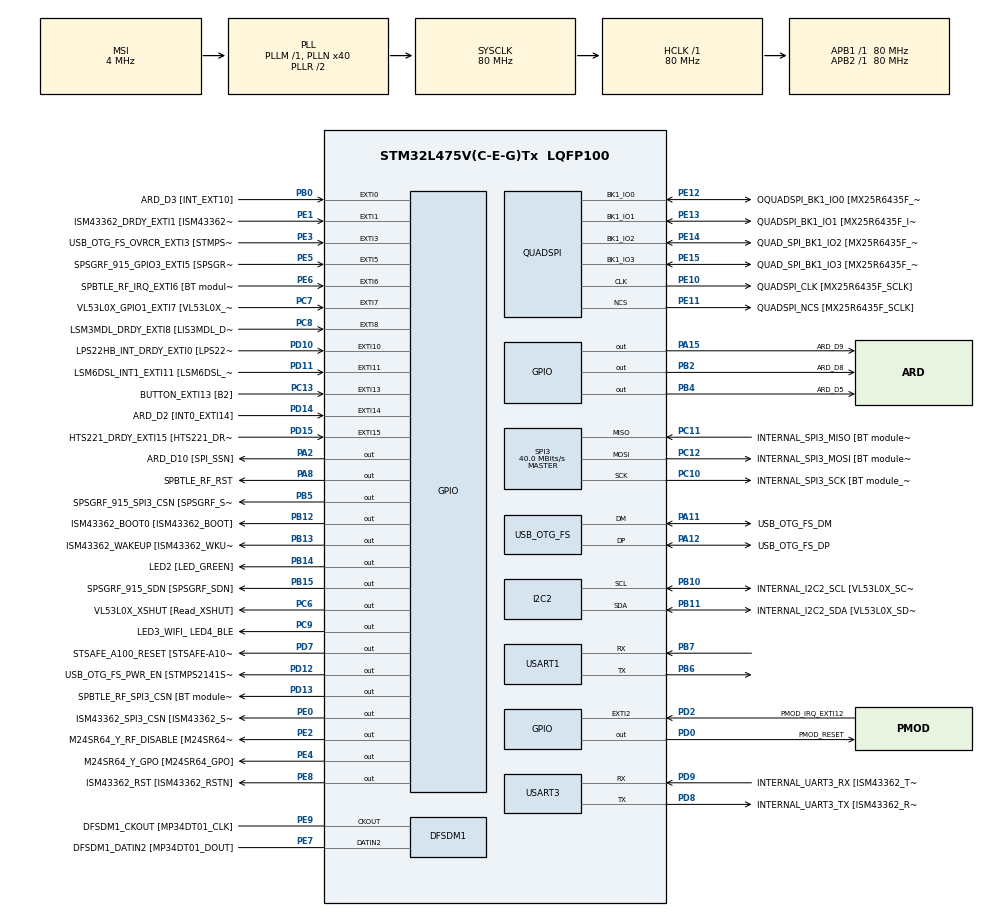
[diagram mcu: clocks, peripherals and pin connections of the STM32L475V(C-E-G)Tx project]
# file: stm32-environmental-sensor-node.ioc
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I2C2.Timing=0x10909CEC
Mcu.Family=STM32L4
Mcu.Name=STM32L475V(C-E-G)Tx
Mcu.Package=LQFP100
NVIC.EXTI15_10_IRQn=true\:0\:0\:false\:false\:true\:true\:true\:true
NVIC.EXTI9_5_IRQn=true\:0\:0\:false\:false\:true\:true\:true\:true
NVIC.PriorityGroup=NVIC_PRIORITYGROUP_4
PA0.GPIO_Label=ARD_D1 [UART4_TX]
PA0.Signal=UART4_TX
PA1.GPIO_Label=ARD_D0 [UART4_RX]
PA1.Signal=UART4_RX
PA11.GPIO_Label=USB_OTG_FS_DM
PA11.Mode=Device_Only
PA11.Signal=USB_OTG_FS_DM
PA12.GPIO_Label=USB_OTG_FS_DP
PA12.Mode=Device_Only
PA12.Signal=USB_OTG_FS_DP
PA13\ (JTMS-SWDIO).GPIO_Label=SYS_JTMS_SWDIO
PA13\ (JTMS-SWDIO).Mode=Serial_Wire
PA13\ (JTMS-SWDIO).Signal=SYS_JTMS-SWDIO
PA14\ (JTCK-SWCLK).GPIO_Label=SYS_JTCK_SWCLK
PA14\ (JTCK-SWCLK).Mode=Serial_Wire
PA14\ (JTCK-SWCLK).Signal=SYS_JTCK-SWCLK
PA15\ (JTDI).GPIO_Label=ARD_D9
PA15\ (JTDI).Signal=GPIO_Output
PA2.GPIO_Label=ARD_D10 [SPI_SSN]
PA2.Signal=GPIO_Output
PA3.GPIO_Label=ARD_D4
PA3.Signal=S_TIM2_CH4
PA4.GPIO_Label=ARD_D7
PA4.Signal=ADCx_IN9
PA5.GPIO_Label=ARD_D13 [SPI1_SCK]
PA5.Signal=SPI1_SCK
PA6.GPIO_Label=ARD_D12 [SPI1_MISO]
PA6.Signal=SPI1_MISO
PA7.GPIO_Label=ARD_D11 [SPI1_MOSI]
PA7.Signal=SPI1_MOSI
PA8.GPIO_Label=SPBTLE_RF_RST
PA8.Signal=GPIO_Output
PB0.GPIO_Label=ARD_D3 [INT_EXT10]
PB0.Signal=GPXTI0
PB1.GPIO_Label=ARD_D6 [ADC1_IN6]
PB1.Signal=ADCx_IN16
PB10.GPIO_Label=INTERNAL_I2C2_SCL [VL53L0X_SCL]
PB10.GPIO_Pu=GPIO_PULLUP
PB10.Mode=I2C
PB10.Signal=I2C2_SCL
PB11.GPIO_Label=INTERNAL_I2C2_SDA [VL53L0X_SDA]
PB11.GPIO_Pu=GPIO_PULLUP
PB11.Mode=I2C
PB11.Signal=I2C2_SDA
PB12.GPIO_Label=ISM43362_BOOT0 [ISM43362_BOOT]
PB12.Signal=GPIO_Output
PB13.GPIO_Label=ISM43362_WAKEUP [ISM43362_WKUP]
PB13.Signal=GPIO_Output
PB14.GPIO_Label=LED2 [LED_GREEN]
PB14.Signal=GPIO_Output
PB15.GPIO_Label=SPSGRF_915_SDN [SPSGRF_SDN]
PB15.Signal=GPIO_Output
PB2.GPIO_Label=ARD_D8
PB2.Signal=GPIO_Output
PB3\ (JTDO-TRACESWO).GPIO_Label=SYS_JTD0_SWO
PB3\ (JTDO-TRACESWO).Signal=SYS_JTDO-SWO
PB4\ (NJTRST).GPIO_Label=ARD_D5
PB4\ (NJTRST).Signal=GPIO_Output
PB5.GPIO_Label=SPSGRF_915_SPI3_CSN [SPSGRF_SPI_CS]
PB5.PinState=GPIO_PIN_SET
PB5.Signal=GPIO_Output
PB6.Mode=Asynchronous
PB6.Signal=USART1_TX
PB7.Mode=Asynchronous
PB7.Signal=USART1_RX
PB8.GPIO_Label=ARD_D15 [I2C1_SCL]
PB8.Signal=I2C1_SCL
PB9.GPIO_Label=ARD_D14 [I2C1_SDA]
PB9.Signal=I2C1_SDA
PC0.GPIO_Label=ARD_A5 [ADC]
PC0.Signal=ADCx_IN1
PC1.GPIO_Label=ARD_A4 [ADC]
PC1.Signal=ADCx_IN2
PC10.GPIO_Label=INTERNAL_SPI3_SCK [BT module_SPI_SCLK] [ISM43362_SCK]
PC10.Mode=Full_Duplex_Master
PC10.Signal=SPI3_SCK
PC11.GPIO_Label=INTERNAL_SPI3_MISO [BT module_SPI_MISO] [ISM43362_MISO]
PC11.Mode=Full_Duplex_Master
PC11.Signal=SPI3_MISO
PC12.GPIO_Label=INTERNAL_SPI3_MOSI [BT module_SPI_MOSI] [ISM43362_MOSI]
PC12.Mode=Full_Duplex_Master
PC12.Signal=SPI3_MOSI
PC13.GPIO_Label=BUTTON_EXTI13 [B2]
PC13.GPIO_ModeDefaultEXTI=GPIO_MODE_IT_FALLING
PC13.Signal=GPXTI13
PC14-OSC32_IN\ (PC14).Mode=LSE-External-Oscillator
PC14-OSC32_IN\ (PC14).Signal=RCC_OSC32_IN
PC15-OSC32_OUT\ (PC15).Mode=LSE-External-Oscillator
PC15-OSC32_OUT\ (PC15).Signal=RCC_OSC32_OUT
PC2.GPIO_Label=ARD_A3 [ADC]
PC2.Signal=ADCx_IN3
PC3.GPIO_Label=ARD_A2 [ADC]
PC3.Signal=ADCx_IN4
PC4.GPIO_Label=ARD_A1 [ADC]
PC4.Signal=ADCx_IN13
PC5.GPIO_Label=ARD_A0 [ADC]
PC5.Signal=ADCx_IN14
PC6.GPIO_Label=VL53L0X_XSHUT [Read_XSHUT]
PC6.Signal=GPIO_Output
PC7.GPIO_Label=VL53L0X_GPIO1_EXTI7 [VL53L0X_GPIO1]
PC7.Signal=GPXTI7
PC8.GPIO_Label=LSM3MDL_DRDY_EXTI8 [LIS3MDL_DRDY]
PC8.Signal=GPXTI8
PC9.GPIO_Label=LED3_WIFI_ LED4_BLE
PC9.Signal=GPIO_Output
PD0.GPIO_Label=PMOD_RESET
PD0.Signal=GPIO_Output
PD1.GPIO_Label=PMOD_SPI2_SCK
PD1.Signal=SPI2_SCK
PD10.GPIO_Label=LPS22HB_INT_DRDY_EXTI0 [LPS22HB_INT_DRDY] 
PD10.Signal=GPXTI10
PD11.GPIO_Label=LSM6DSL_INT1_EXTI11 [LSM6DSL_INT1]
PD11.Signal=GPXTI11
PD12.GPIO_Label=USB_OTG_FS_PWR_EN [STMPS2141STR_EN]
PD12.Signal=GPIO_Output
PD13.GPIO_Label=SPBTLE_RF_SPI3_CSN [BT module_SPI_CS]
PD13.PinState=GPIO_PIN_SET
PD13.Signal=GPIO_Output
PD14.GPIO_Label=ARD_D2 [INT0_EXTI14]
PD14.Signal=GPXTI14
PD15.GPIO_Label=HTS221_DRDY_EXTI15 [HTS221_DRDY]
PD15.Signal=GPXTI15
PD2.GPIO_Label=PMOD_IRQ_EXTI12
PD2.Signal=GPXTI2
PD3.GPIO_Label=PMOD_UART2_CTS
PD3.Signal=USART2_CTS
PD4.GPIO_Label=PMOD_UART2_RTS
PD4.Signal=USART2_RTS
PD5.GPIO_Label=PMOD_UART2_TX
PD5.Signal=USART2_TX
PD6.GPIO_Label=PMOD_UART2_RX
PD6.Signal=USART2_RX
PD7.GPIO_Label=STSAFE_A100_RESET [STSAFE-A100_RESET]
PD7.Signal=GPIO_Output
PD8.GPIO_Label=INTERNAL_UART3_TX [ISM43362_RX]
PD8.Mode=Asynchronous
PD8.Signal=USART3_TX
PD9.GPIO_Label=INTERNAL_UART3_RX [ISM43362_TX]
PD9.Mode=Asynchronous
PD9.Signal=USART3_RX
PE0.GPIO_Label=ISM43362_SPI3_CSN [ISM43362_SSN]
PE0.PinState=GPIO_PIN_SET
PE0.Signal=GPIO_Output
PE1.GPIO_Label=ISM43362_DRDY_EXTI1 [ISM43362_DATARDY]
PE1.Signal=GPXTI1
PE10.GPIO_Label=QUADSPI_CLK [MX25R6435F_SCLK]
PE10.Mode=Single Bank
PE10.Signal=QUADSPI_CLK
PE11.GPIO_Label=QUADSPI_NCS [MX25R6435F_SCLK]
PE11.Mode=Single Bank
PE11.Signal=QUADSPI_NCS
PE12.GPIO_Label=OQUADSPI_BK1_IO0 [MX25R6435F_IO0]
PE12.Mode=Single Bank
PE12.Signal=QUADSPI_BK1_IO0
PE13.GPIO_Label=QUADSPI_BK1_IO1 [MX25R6435F_IO1]
PE13.Mode=Single Bank
PE13.Signal=QUADSPI_BK1_IO1
PE14.GPIO_Label=QUAD_SPI_BK1_IO2 [MX25R6435F_IO2]
PE14.Mode=Single Bank
PE14.Signal=QUADSPI_BK1_IO2
PE15.GPIO_Label=QUAD_SPI_BK1_IO3 [MX25R6435F_IO3]
PE15.Mode=Single Bank
PE15.Signal=QUADSPI_BK1_IO3
PE2.GPIO_Label=M24SR64_Y_RF_DISABLE [M24SR64_RFDIS]
PE2.Signal=GPIO_Output
PE3.GPIO_Label=USB_OTG_FS_OVRCR_EXTI3 [STMPS2141STR_FAULT]
PE3.Signal=GPXTI3
PE4.GPIO_Label=M24SR64_Y_GPO [M24SR64_GPO]
PE4.Signal=GPIO_Output
PE5.GPIO_Label=SPSGRF_915_GPIO3_EXTI5 [SPSGRF_GPIO_3]
PE5.Signal=GPXTI5
PE6.GPIO_Label=SPBTLE_RF_IRQ_EXTI6 [BT module_SPI_IRQ]
PE6.Signal=GPXTI6
PE7.GPIO_Label=DFSDM1_DATIN2 [MP34DT01_DOUT]
PE7.Signal=S_DATAIN2DFSDM1
PE8.GPIO_Label=ISM43362_RST [ISM43362_RSTN]
PE8.Signal=GPIO_Output
PE9.GPIO_Label=DFSDM1_CKOUT [MP34DT01_CLK]
PE9.Signal=S_CKOUTDFSDM1
ProjectManager.HeapSize=0x200
ProjectManager.StackSize=0x400
ProjectManager.TargetToolchain=STM32CubeIDE
QUADSPI.ClockPrescaler=2
QUADSPI.FifoThreshold=4
QUADSPI.FlashSize=23
QUADSPI.SampleShifting=QSPI_SAMPLE_SHIFTING_HALFCYCLE
RCC.ADCFreq_Value=48000000
RCC.AHBFreq_Value=80000000
RCC.APB1Freq_Value=80000000
RCC.APB1TimFreq_Value=80000000
RCC.APB2Freq_Value=80000000
RCC.APB2TimFreq_Value=80000000
RCC.CortexFreq_Value=80000000
RCC.HCLKFreq_Value=80000000
RCC.HSE_VALUE=8000000
RCC.HSI_VALUE=16000000
RCC.MSI_VALUE=4000000
RCC.PLLN=40
RCC.PLLSAI1N=24
RCC.SYSCLKFreq_VALUE=80000000
RCC.SYSCLKSource=RCC_SYSCLKSOURCE_PLLCLK
RCC.USBFreq_Value=48000000
RCC.VCOOutputFreq_Value=160000000
SH.ADCx_IN1.0=ADC1_IN1
SH.ADCx_IN13.0=ADC1_IN13
SH.ADCx_IN14.0=ADC1_IN14
SH.ADCx_IN16.0=ADC1_IN16
SH.ADCx_IN2.0=ADC1_IN2
SH.ADCx_IN3.0=ADC1_IN3
SH.ADCx_IN4.0=ADC1_IN4
SH.ADCx_IN9.0=ADC1_IN9
SH.S_CKOUTDFSDM1.0=DFSDM1_CKOUT,CKOUT
SH.S_CKOUTDFSDM1.1=DFSDM1_CKOUT,PDM_SPI_Input_from_ch12_and_Internal_Clock
SH.S_DATAIN2DFSDM1.0=DFSDM1_DATIN2,PDM_SPI_Input_from_ch12_and_Internal_Clock
SH.S_TIM2_CH4.0=TIM2_CH4
SPI3.CalculateBaudRate=40.0 MBits/s
SPI3.Direction=SPI_DIRECTION_2LINES
SPI3.Mode=SPI_MODE_MASTER
SPI3.VirtualType=VM_MASTER
USART1.VirtualMode-Asynchronous=VM_ASYNC
USART3.VirtualMode-Asynchronous=VM_ASYNC
USB_OTG_FS.VirtualMode=Device_Only
board=B-L475E-IOT01A2

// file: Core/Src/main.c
/* USER CODE BEGIN Header */
/**
  ******************************************************************************
  * @file           : main.c
  * @brief          : Main program body
  ******************************************************************************
  * @attention
  *
  * Copyright (c) 2025 STMicroelectronics.
  * All rights reserved.
  *
  * This software is licensed under terms that can be found in the LICENSE file
  * in the root directory of this software component.
  * If no LICENSE file comes with this software, it is provided AS-IS.
  *
  ******************************************************************************
  */
/* USER CODE END Header */
#include "main.h"

/* USER CODE BEGIN Includes */
#include "i2c_driver.h"
#include "hts221.h"
#include "lps22hb.h"
#include <string.h>   // para strlen
#include <stdio.h>    // para snprintf

/* USER CODE END Includes */

DFSDM_Channel_HandleTypeDef hdfsdm1_channel1;

I2C_HandleTypeDef hi2c2;

QSPI_HandleTypeDef hqspi;

SPI_HandleTypeDef hspi3;

UART_HandleTypeDef huart1;
UART_HandleTypeDef huart3;

PCD_HandleTypeDef hpcd_USB_OTG_FS;

void SystemClock_Config(void);
static void MX_GPIO_Init(void);
static void MX_DFSDM1_Init(void);
static void MX_I2C2_Init(void);
static void MX_QUADSPI_Init(void);
static void MX_SPI3_Init(void);
static void MX_USART1_UART_Init(void);
static void MX_USART3_UART_Init(void);
static void MX_USB_OTG_FS_PCD_Init(void);

/* USER CODE BEGIN 0 */
char uart_buf[64];

void uart_print(const char *s)
{
    extern UART_HandleTypeDef huart1;
    HAL_UART_Transmit(&huart1, (uint8_t*)s, strlen(s), HAL_MAX_DELAY);
}

/* USER CODE END 0 */

int main(void)
{

  /* MCU Configuration--------------------------------------------------------*/

  /* Reset of all peripherals, Initializes the Flash interface and the Systick. */
  HAL_Init();

  /* Configure the system clock */
  SystemClock_Config();

  /* Initialize all configured peripherals */
  	MX_GPIO_Init();
    MX_DFSDM1_Init();
    MX_I2C2_Init();
    MX_QUADSPI_Init();
    MX_SPI3_Init();
    MX_USART1_UART_Init();
    MX_USART3_UART_Init();
    MX_USB_OTG_FS_PCD_Init();
    /* USER CODE BEGIN 2 */

    /* Buffers / variables globales para loop */
    char uart_buf[128];

    /* HTS221 variables */
    HAL_StatusTypeDef st_init = HAL_OK, st_cal = HAL_OK, st_h = HAL_OK, st_t = HAL_OK;
    uint8_t whoami = 0;
    int16_t hts_raw_t = 0;
    int16_t hts_raw_h = 0;
    float hts_temp = 0.0f;
    float hts_hum = 0.0f;

    /* LPS22HB variables */
    uint8_t lps_id = 0;
    int32_t lps_raw_p = 0;
    int16_t lps_raw_t = 0;
    float lps_pres_hpa = 0.0f;
    float lps_temp_c = 0.0f;

    /* Inits / checks */
    HTS221_ReadWhoAmI(&whoami);
    snprintf(uart_buf, sizeof(uart_buf), "HTS221 WHO_AM_I = 0x%02X\r\n", whoami);
    uart_print(uart_buf);

    st_init = HTS221_Init();
    snprintf(uart_buf, sizeof(uart_buf), "HTS221 init status = %d\r\n", (int)st_init);
    uart_print(uart_buf);

    HAL_Delay(100);
    st_cal = HTS221_ReadCalibration();
    snprintf(uart_buf, sizeof(uart_buf), "HTS221 read calib status = %d\r\n", (int)st_cal);
    uart_print(uart_buf);

    /* LPS22HB check + init */
    if (LPS22HB_ReadID(&lps_id) == HAL_OK) {
        snprintf(uart_buf, sizeof(uart_buf), "LPS22HB ID = 0x%02X\r\n", lps_id);
        uart_print(uart_buf);
    } else {
        uart_print("LPS22HB ID read failed\r\n");
    }

    HAL_Delay(10);
    if (LPS22HB_Init() == HAL_OK) {
        uart_print("LPS22HB init OK\r\n");
    } else {
        uart_print("LPS22HB init FAILED\r\n");
    }

    HAL_Delay(100);

    /* USER CODE END 2 */

    /* Infinite loop */
    /* USER CODE BEGIN WHILE */
    while (1)
    {
        /* --- HTS221 readings --- */
        st_h = HTS221_ReadRawHumidity(&hts_raw_h);
        st_t = HTS221_ReadRawTemperature(&hts_raw_t);

        if (st_h == HAL_OK && st_t == HAL_OK) {
            hts_hum  = HTS221_ComputeHumidity(hts_raw_h);
            hts_temp = HTS221_ComputeTemperature(hts_raw_t);
        } else {
            /* indicate read error but continue */
            snprintf(uart_buf, sizeof(uart_buf),
                     "HTS221 read error st_h=%d st_t=%d\r\n", (int)st_h, (int)st_t);
            uart_print(uart_buf);
        }

        /* --- LPS22HB readings --- */
        if (LPS22HB_ReadRawPressure(&lps_raw_p) == HAL_OK) {
            lps_pres_hpa = LPS22HB_Pressure_hPa_from_raw(lps_raw_p);
        } else {
            /* keep previous or mark invalid */
            uart_print("LPS22HB read pressure failed\r\n");
        }

        if (LPS22HB_ReadRawTemperature(&lps_raw_t) == HAL_OK) {
            lps_temp_c = LPS22HB_Temp_degC_from_raw(lps_raw_t);
        } else {
            uart_print("LPS22HB read temp failed\r\n");
        }

        /* --- Format and print all sensors in one line (no %f) --- */
        int hts_t_i = (int)(hts_temp * 100);
        int hts_h_i = (int)(hts_hum * 100);
        int lps_t_i = (int)(lps_temp_c * 100);
        int lps_p_i = (int)(lps_pres_hpa * 100);

        snprintf(uart_buf, sizeof(uart_buf),
                 "HTS T=%d.%02dC H=%d.%02d%% | LPS P=%d.%02d hPa T=%d.%02dC\r\n",
                 hts_t_i/100, hts_t_i%100,
                 hts_h_i/100, hts_h_i%100,
                 lps_p_i/100, lps_p_i%100,
                 lps_t_i/100, lps_t_i%100);

        uart_print(uart_buf);

        HAL_Delay(500);
    }     /* USER CODE END WHILE */

  }

void SystemClock_Config(void)
{
  RCC_OscInitTypeDef RCC_OscInitStruct = {0};
  RCC_ClkInitTypeDef RCC_ClkInitStruct = {0};

  /** Configure the main internal regulator output voltage
  */
  if (HAL_PWREx_ControlVoltageScaling(PWR_REGULATOR_VOLTAGE_SCALE1) != HAL_OK)
  {
    Error_Handler();
  }

  /** Configure LSE Drive Capability
  */
  HAL_PWR_EnableBkUpAccess();
  __HAL_RCC_LSEDRIVE_CONFIG(RCC_LSEDRIVE_LOW);

  /** Initializes the RCC Oscillators according to the specified parameters
  * in the RCC_OscInitTypeDef structure.
  */
  RCC_OscInitStruct.OscillatorType = RCC_OSCILLATORTYPE_LSE|RCC_OSCILLATORTYPE_MSI;
  RCC_OscInitStruct.LSEState = RCC_LSE_ON;
  RCC_OscInitStruct.MSIState = RCC_MSI_ON;
  RCC_OscInitStruct.MSICalibrationValue = 0;
  RCC_OscInitStruct.MSIClockRange = RCC_MSIRANGE_6;
  RCC_OscInitStruct.PLL.PLLState = RCC_PLL_ON;
  RCC_OscInitStruct.PLL.PLLSource = RCC_PLLSOURCE_MSI;
  RCC_OscInitStruct.PLL.PLLM = 1;
  RCC_OscInitStruct.PLL.PLLN = 40;
  RCC_OscInitStruct.PLL.PLLP = RCC_PLLP_DIV7;
  RCC_OscInitStruct.PLL.PLLQ = RCC_PLLQ_DIV2;
  RCC_OscInitStruct.PLL.PLLR = RCC_PLLR_DIV2;
  if (HAL_RCC_OscConfig(&RCC_OscInitStruct) != HAL_OK)
  {
    Error_Handler();
  }

  /** Initializes the CPU, AHB and APB buses clocks
  */
  RCC_ClkInitStruct.ClockType = RCC_CLOCKTYPE_HCLK|RCC_CLOCKTYPE_SYSCLK
                              |RCC_CLOCKTYPE_PCLK1|RCC_CLOCKTYPE_PCLK2;
  RCC_ClkInitStruct.SYSCLKSource = RCC_SYSCLKSOURCE_PLLCLK;
  RCC_ClkInitStruct.AHBCLKDivider = RCC_SYSCLK_DIV1;
  RCC_ClkInitStruct.APB1CLKDivider = RCC_HCLK_DIV1;
  RCC_ClkInitStruct.APB2CLKDivider = RCC_HCLK_DIV1;

  if (HAL_RCC_ClockConfig(&RCC_ClkInitStruct, FLASH_LATENCY_4) != HAL_OK)
  {
    Error_Handler();
  }

  /** Enable MSI Auto calibration
  */
  HAL_RCCEx_EnableMSIPLLMode();
}

static void MX_DFSDM1_Init(void)
{

  hdfsdm1_channel1.Instance = DFSDM1_Channel1;
  hdfsdm1_channel1.Init.OutputClock.Activation = ENABLE;
  hdfsdm1_channel1.Init.OutputClock.Selection = DFSDM_CHANNEL_OUTPUT_CLOCK_SYSTEM;
  hdfsdm1_channel1.Init.OutputClock.Divider = 2;
  hdfsdm1_channel1.Init.Input.Multiplexer = DFSDM_CHANNEL_EXTERNAL_INPUTS;
  hdfsdm1_channel1.Init.Input.DataPacking = DFSDM_CHANNEL_STANDARD_MODE;
  hdfsdm1_channel1.Init.Input.Pins = DFSDM_CHANNEL_FOLLOWING_CHANNEL_PINS;
  hdfsdm1_channel1.Init.SerialInterface.Type = DFSDM_CHANNEL_SPI_RISING;
  hdfsdm1_channel1.Init.SerialInterface.SpiClock = DFSDM_CHANNEL_SPI_CLOCK_INTERNAL;
  hdfsdm1_channel1.Init.Awd.FilterOrder = DFSDM_CHANNEL_FASTSINC_ORDER;
  hdfsdm1_channel1.Init.Awd.Oversampling = 1;
  hdfsdm1_channel1.Init.Offset = 0;
  hdfsdm1_channel1.Init.RightBitShift = 0x00;
  if (HAL_DFSDM_ChannelInit(&hdfsdm1_channel1) != HAL_OK)
  {
    Error_Handler();
  }

}

static void MX_I2C2_Init(void)
{

  hi2c2.Instance = I2C2;
  hi2c2.Init.Timing = 0x10909CEC;
  hi2c2.Init.OwnAddress1 = 0;
  hi2c2.Init.AddressingMode = I2C_ADDRESSINGMODE_7BIT;
  hi2c2.Init.DualAddressMode = I2C_DUALADDRESS_DISABLE;
  hi2c2.Init.OwnAddress2 = 0;
  hi2c2.Init.OwnAddress2Masks = I2C_OA2_NOMASK;
  hi2c2.Init.GeneralCallMode = I2C_GENERALCALL_DISABLE;
  hi2c2.Init.NoStretchMode = I2C_NOSTRETCH_DISABLE;
  if (HAL_I2C_Init(&hi2c2) != HAL_OK)
  {
    Error_Handler();
  }

  /** Configure Analogue filter
  */
  if (HAL_I2CEx_ConfigAnalogFilter(&hi2c2, I2C_ANALOGFILTER_ENABLE) != HAL_OK)
  {
    Error_Handler();
  }

  /** Configure Digital filter
  */
  if (HAL_I2CEx_ConfigDigitalFilter(&hi2c2, 0) != HAL_OK)
  {
    Error_Handler();
  }

}

static void MX_QUADSPI_Init(void)
{

  /* QUADSPI parameter configuration*/
  hqspi.Instance = QUADSPI;
  hqspi.Init.ClockPrescaler = 2;
  hqspi.Init.FifoThreshold = 4;
  hqspi.Init.SampleShifting = QSPI_SAMPLE_SHIFTING_HALFCYCLE;
  hqspi.Init.FlashSize = 23;
  hqspi.Init.ChipSelectHighTime = QSPI_CS_HIGH_TIME_1_CYCLE;
  hqspi.Init.ClockMode = QSPI_CLOCK_MODE_0;
  if (HAL_QSPI_Init(&hqspi) != HAL_OK)
  {
    Error_Handler();
  }

}

static void MX_SPI3_Init(void)
{

  /* SPI3 parameter configuration*/
  hspi3.Instance = SPI3;
  hspi3.Init.Mode = SPI_MODE_MASTER;
  hspi3.Init.Direction = SPI_DIRECTION_2LINES;
  hspi3.Init.DataSize = SPI_DATASIZE_4BIT;
  hspi3.Init.CLKPolarity = SPI_POLARITY_LOW;
  hspi3.Init.CLKPhase = SPI_PHASE_1EDGE;
  hspi3.Init.NSS = SPI_NSS_SOFT;
  hspi3.Init.BaudRatePrescaler = SPI_BAUDRATEPRESCALER_2;
  hspi3.Init.FirstBit = SPI_FIRSTBIT_MSB;
  hspi3.Init.TIMode = SPI_TIMODE_DISABLE;
  hspi3.Init.CRCCalculation = SPI_CRCCALCULATION_DISABLE;
  hspi3.Init.CRCPolynomial = 7;
  hspi3.Init.CRCLength = SPI_CRC_LENGTH_DATASIZE;
  hspi3.Init.NSSPMode = SPI_NSS_PULSE_ENABLE;
  if (HAL_SPI_Init(&hspi3) != HAL_OK)
  {
    Error_Handler();
  }

}

static void MX_USART1_UART_Init(void)
{

  huart1.Instance = USART1;
  huart1.Init.BaudRate = 115200;
  huart1.Init.WordLength = UART_WORDLENGTH_8B;
  huart1.Init.StopBits = UART_STOPBITS_1;
  huart1.Init.Parity = UART_PARITY_NONE;
  huart1.Init.Mode = UART_MODE_TX_RX;
  huart1.Init.HwFlowCtl = UART_HWCONTROL_NONE;
  huart1.Init.OverSampling = UART_OVERSAMPLING_16;
  huart1.Init.OneBitSampling = UART_ONE_BIT_SAMPLE_DISABLE;
  huart1.AdvancedInit.AdvFeatureInit = UART_ADVFEATURE_NO_INIT;
  if (HAL_UART_Init(&huart1) != HAL_OK)
  {
    Error_Handler();
  }

}

static void MX_USART3_UART_Init(void)
{

  huart3.Instance = USART3;
  huart3.Init.BaudRate = 115200;
  huart3.Init.WordLength = UART_WORDLENGTH_8B;
  huart3.Init.StopBits = UART_STOPBITS_1;
  huart3.Init.Parity = UART_PARITY_NONE;
  huart3.Init.Mode = UART_MODE_TX_RX;
  huart3.Init.HwFlowCtl = UART_HWCONTROL_NONE;
  huart3.Init.OverSampling = UART_OVERSAMPLING_16;
  huart3.Init.OneBitSampling = UART_ONE_BIT_SAMPLE_DISABLE;
  huart3.AdvancedInit.AdvFeatureInit = UART_ADVFEATURE_NO_INIT;
  if (HAL_UART_Init(&huart3) != HAL_OK)
  {
    Error_Handler();
  }

}

static void MX_USB_OTG_FS_PCD_Init(void)
{

  hpcd_USB_OTG_FS.Instance = USB_OTG_FS;
  hpcd_USB_OTG_FS.Init.dev_endpoints = 6;
  hpcd_USB_OTG_FS.Init.speed = PCD_SPEED_FULL;
  hpcd_USB_OTG_FS.Init.phy_itface = PCD_PHY_EMBEDDED;
  hpcd_USB_OTG_FS.Init.Sof_enable = DISABLE;
  hpcd_USB_OTG_FS.Init.low_power_enable = DISABLE;
  hpcd_USB_OTG_FS.Init.lpm_enable = DISABLE;
  hpcd_USB_OTG_FS.Init.battery_charging_enable = DISABLE;
  hpcd_USB_OTG_FS.Init.use_dedicated_ep1 = DISABLE;
  hpcd_USB_OTG_FS.Init.vbus_sensing_enable = DISABLE;
  if (HAL_PCD_Init(&hpcd_USB_OTG_FS) != HAL_OK)
  {
    Error_Handler();
  }

}

static void MX_GPIO_Init(void)
{
  GPIO_InitTypeDef GPIO_InitStruct = {0};

  /* GPIO Ports Clock Enable */
  __HAL_RCC_GPIOE_CLK_ENABLE();
  __HAL_RCC_GPIOC_CLK_ENABLE();
  __HAL_RCC_GPIOA_CLK_ENABLE();
  __HAL_RCC_GPIOB_CLK_ENABLE();
  __HAL_RCC_GPIOD_CLK_ENABLE();

  /*Configure GPIO pin Output Level */
  HAL_GPIO_WritePin(GPIOE, M24SR64_Y_RF_DISABLE_Pin|M24SR64_Y_GPO_Pin|ISM43362_RST_Pin, GPIO_PIN_RESET);

  /*Configure GPIO pin Output Level */
  HAL_GPIO_WritePin(GPIOA, ARD_D10_Pin|SPBTLE_RF_RST_Pin|ARD_D9_Pin, GPIO_PIN_RESET);

  /*Configure GPIO pin Output Level */
  HAL_GPIO_WritePin(GPIOB, ARD_D8_Pin|ISM43362_BOOT0_Pin|ISM43362_WAKEUP_Pin|LED2_Pin
                          |SPSGRF_915_SDN_Pin|ARD_D5_Pin, GPIO_PIN_RESET);

  /*Configure GPIO pin Output Level */
  HAL_GPIO_WritePin(GPIOD, USB_OTG_FS_PWR_EN_Pin|PMOD_RESET_Pin|STSAFE_A100_RESET_Pin, GPIO_PIN_RESET);

  /*Configure GPIO pin Output Level */
  HAL_GPIO_WritePin(SPBTLE_RF_SPI3_CSN_GPIO_Port, SPBTLE_RF_SPI3_CSN_Pin, GPIO_PIN_SET);

  /*Configure GPIO pin Output Level */
  HAL_GPIO_WritePin(GPIOC, VL53L0X_XSHUT_Pin|LED3_WIFI__LED4_BLE_Pin, GPIO_PIN_RESET);

  /*Configure GPIO pin Output Level */
  HAL_GPIO_WritePin(SPSGRF_915_SPI3_CSN_GPIO_Port, SPSGRF_915_SPI3_CSN_Pin, GPIO_PIN_SET);

  /*Configure GPIO pin Output Level */
  HAL_GPIO_WritePin(ISM43362_SPI3_CSN_GPIO_Port, ISM43362_SPI3_CSN_Pin, GPIO_PIN_SET);

  /*Configure GPIO pins : M24SR64_Y_RF_DISABLE_Pin M24SR64_Y_GPO_Pin ISM43362_RST_Pin ISM43362_SPI3_CSN_Pin */
  GPIO_InitStruct.Pin = M24SR64_Y_RF_DISABLE_Pin|M24SR64_Y_GPO_Pin|ISM43362_RST_Pin|ISM43362_SPI3_CSN_Pin;
  GPIO_InitStruct.Mode = GPIO_MODE_OUTPUT_PP;
  GPIO_InitStruct.Pull = GPIO_NOPULL;
  GPIO_InitStruct.Speed = GPIO_SPEED_FREQ_LOW;
  HAL_GPIO_Init(GPIOE, &GPIO_InitStruct);

  /*Configure GPIO pins : USB_OTG_FS_OVRCR_EXTI3_Pin SPSGRF_915_GPIO3_EXTI5_Pin SPBTLE_RF_IRQ_EXTI6_Pin ISM43362_DRDY_EXTI1_Pin */
  GPIO_InitStruct.Pin = USB_OTG_FS_OVRCR_EXTI3_Pin|SPSGRF_915_GPIO3_EXTI5_Pin|SPBTLE_RF_IRQ_EXTI6_Pin|ISM43362_DRDY_EXTI1_Pin;
  GPIO_InitStruct.Mode = GPIO_MODE_IT_RISING;
  GPIO_InitStruct.Pull = GPIO_NOPULL;
  HAL_GPIO_Init(GPIOE, &GPIO_InitStruct);

  /*Configure GPIO pin : BUTTON_EXTI13_Pin */
  GPIO_InitStruct.Pin = BUTTON_EXTI13_Pin;
  GPIO_InitStruct.Mode = GPIO_MODE_IT_FALLING;
  GPIO_InitStruct.Pull = GPIO_NOPULL;
  HAL_GPIO_Init(BUTTON_EXTI13_GPIO_Port, &GPIO_InitStruct);

  /*Configure GPIO pins : ARD_A5_Pin ARD_A4_Pin ARD_A3_Pin ARD_A2_Pin
                           ARD_A1_Pin ARD_A0_Pin */
  GPIO_InitStruct.Pin = ARD_A5_Pin|ARD_A4_Pin|ARD_A3_Pin|ARD_A2_Pin
                          |ARD_A1_Pin|ARD_A0_Pin;
  GPIO_InitStruct.Mode = GPIO_MODE_ANALOG_ADC_CONTROL;
  GPIO_InitStruct.Pull = GPIO_NOPULL;
  HAL_GPIO_Init(GPIOC, &GPIO_InitStruct);

  /*Configure GPIO pins : ARD_D1_Pin ARD_D0_Pin */
  GPIO_InitStruct.Pin = ARD_D1_Pin|ARD_D0_Pin;
  GPIO_InitStruct.Mode = GPIO_MODE_AF_PP;
  GPIO_InitStruct.Pull = GPIO_NOPULL;
  GPIO_InitStruct.Speed = GPIO_SPEED_FREQ_VERY_HIGH;
  GPIO_InitStruct.Alternate = GPIO_AF8_UART4;
  HAL_GPIO_Init(GPIOA, &GPIO_InitStruct);

  /*Configure GPIO pins : ARD_D10_Pin SPBTLE_RF_RST_Pin ARD_D9_Pin */
  GPIO_InitStruct.Pin = ARD_D10_Pin|SPBTLE_RF_RST_Pin|ARD_D9_Pin;
  GPIO_InitStruct.Mode = GPIO_MODE_OUTPUT_PP;
  GPIO_InitStruct.Pull = GPIO_NOPULL;
  GPIO_InitStruct.Speed = GPIO_SPEED_FREQ_LOW;
  HAL_GPIO_Init(GPIOA, &GPIO_InitStruct);

  /*Configure GPIO pin : ARD_D4_Pin */
  GPIO_InitStruct.Pin = ARD_D4_Pin;
  GPIO_InitStruct.Mode = GPIO_MODE_AF_PP;
  GPIO_InitStruct.Pull = GPIO_NOPULL;
  GPIO_InitStruct.Speed = GPIO_SPEED_FREQ_LOW;
  GPIO_InitStruct.Alternate = GPIO_AF1_TIM2;
  HAL_GPIO_Init(ARD_D4_GPIO_Port, &GPIO_InitStruct);

  /*Configure GPIO pin : ARD_D7_Pin */
  GPIO_InitStruct.Pin = ARD_D7_Pin;
  GPIO_InitStruct.Mode = GPIO_MODE_ANALOG_ADC_CONTROL;
  GPIO_InitStruct.Pull = GPIO_NOPULL;
  HAL_GPIO_Init(ARD_D7_GPIO_Port, &GPIO_InitStruct);

  /*Configure GPIO pins : ARD_D13_Pin ARD_D12_Pin ARD_D11_Pin */
  GPIO_InitStruct.Pin = ARD_D13_Pin|ARD_D12_Pin|ARD_D11_Pin;
  GPIO_InitStruct.Mode = GPIO_MODE_AF_PP;
  GPIO_InitStruct.Pull = GPIO_NOPULL;
  GPIO_InitStruct.Speed = GPIO_SPEED_FREQ_VERY_HIGH;
  GPIO_InitStruct.Alternate = GPIO_AF5_SPI1;
  HAL_GPIO_Init(GPIOA, &GPIO_InitStruct);

  /*Configure GPIO pin : ARD_D3_Pin */
  GPIO_InitStruct.Pin = ARD_D3_Pin;
  GPIO_InitStruct.Mode = GPIO_MODE_IT_RISING;
  GPIO_InitStruct.Pull = GPIO_NOPULL;
  HAL_GPIO_Init(ARD_D3_GPIO_Port, &GPIO_InitStruct);

  /*Configure GPIO pin : ARD_D6_Pin */
  GPIO_InitStruct.Pin = ARD_D6_Pin;
  GPIO_InitStruct.Mode = GPIO_MODE_ANALOG_ADC_CONTROL;
  GPIO_InitStruct.Pull = GPIO_NOPULL;
  HAL_GPIO_Init(ARD_D6_GPIO_Port, &GPIO_InitStruct);

  /*Configure GPIO pins : ARD_D8_Pin ISM43362_BOOT0_Pin ISM43362_WAKEUP_Pin LED2_Pin
                           SPSGRF_915_SDN_Pin ARD_D5_Pin SPSGRF_915_SPI3_CSN_Pin */
  GPIO_InitStruct.Pin = ARD_D8_Pin|ISM43362_BOOT0_Pin|ISM43362_WAKEUP_Pin|LED2_Pin
                          |SPSGRF_915_SDN_Pin|ARD_D5_Pin|SPSGRF_915_SPI3_CSN_Pin;
  GPIO_InitStruct.Mode = GPIO_MODE_OUTPUT_PP;
  GPIO_InitStruct.Pull = GPIO_NOPULL;
  GPIO_InitStruct.Speed = GPIO_SPEED_FREQ_LOW;
  HAL_GPIO_Init(GPIOB, &GPIO_InitStruct);

  /*Configure GPIO pins : LPS22HB_INT_DRDY_EXTI0_Pin LSM6DSL_INT1_EXTI11_Pin ARD_D2_Pin HTS221_DRDY_EXTI15_Pin
                           PMOD_IRQ_EXTI12_Pin */
  GPIO_InitStruct.Pin = LPS22HB_INT_DRDY_EXTI0_Pin|LSM6DSL_INT1_EXTI11_Pin|ARD_D2_Pin|HTS221_DRDY_EXTI15_Pin
                          |PMOD_IRQ_EXTI12_Pin;
  GPIO_InitStruct.Mode = GPIO_MODE_IT_RISING;
  GPIO_InitStruct.Pull = GPIO_NOPULL;
  HAL_GPIO_Init(GPIOD, &GPIO_InitStruct);

  /*Configure GPIO pins : USB_OTG_FS_PWR_EN_Pin SPBTLE_RF_SPI3_CSN_Pin PMOD_RESET_Pin STSAFE_A100_RESET_Pin */
  GPIO_InitStruct.Pin = USB_OTG_FS_PWR_EN_Pin|SPBTLE_RF_SPI3_CSN_Pin|PMOD_RESET_Pin|STSAFE_A100_RESET_Pin;
  GPIO_InitStruct.Mode = GPIO_MODE_OUTPUT_PP;
  GPIO_InitStruct.Pull = GPIO_NOPULL;
  GPIO_InitStruct.Speed = GPIO_SPEED_FREQ_LOW;
  HAL_GPIO_Init(GPIOD, &GPIO_InitStruct);

  /*Configure GPIO pins : VL53L0X_XSHUT_Pin LED3_WIFI__LED4_BLE_Pin */
  GPIO_InitStruct.Pin = VL53L0X_XSHUT_Pin|LED3_WIFI__LED4_BLE_Pin;
  GPIO_InitStruct.Mode = GPIO_MODE_OUTPUT_PP;
  GPIO_InitStruct.Pull = GPIO_NOPULL;
  GPIO_InitStruct.Speed = GPIO_SPEED_FREQ_LOW;
  HAL_GPIO_Init(GPIOC, &GPIO_InitStruct);

  /*Configure GPIO pins : VL53L0X_GPIO1_EXTI7_Pin LSM3MDL_DRDY_EXTI8_Pin */
  GPIO_InitStruct.Pin = VL53L0X_GPIO1_EXTI7_Pin|LSM3MDL_DRDY_EXTI8_Pin;
  GPIO_InitStruct.Mode = GPIO_MODE_IT_RISING;
  GPIO_InitStruct.Pull = GPIO_NOPULL;
  HAL_GPIO_Init(GPIOC, &GPIO_InitStruct);

  /*Configure GPIO pin : PMOD_SPI2_SCK_Pin */
  GPIO_InitStruct.Pin = PMOD_SPI2_SCK_Pin;
  GPIO_InitStruct.Mode = GPIO_MODE_AF_PP;
  GPIO_InitStruct.Pull = GPIO_NOPULL;
  GPIO_InitStruct.Speed = GPIO_SPEED_FREQ_VERY_HIGH;
  GPIO_InitStruct.Alternate = GPIO_AF5_SPI2;
  HAL_GPIO_Init(PMOD_SPI2_SCK_GPIO_Port, &GPIO_InitStruct);

  /*Configure GPIO pins : PMOD_UART2_CTS_Pin PMOD_UART2_RTS_Pin PMOD_UART2_TX_Pin PMOD_UART2_RX_Pin */
  GPIO_InitStruct.Pin = PMOD_UART2_CTS_Pin|PMOD_UART2_RTS_Pin|PMOD_UART2_TX_Pin|PMOD_UART2_RX_Pin;
  GPIO_InitStruct.Mode = GPIO_MODE_AF_PP;
  GPIO_InitStruct.Pull = GPIO_NOPULL;
  GPIO_InitStruct.Speed = GPIO_SPEED_FREQ_VERY_HIGH;
  GPIO_InitStruct.Alternate = GPIO_AF7_USART2;
  HAL_GPIO_Init(GPIOD, &GPIO_InitStruct);

  /*Configure GPIO pins : ARD_D15_Pin ARD_D14_Pin */
  GPIO_InitStruct.Pin = ARD_D15_Pin|ARD_D14_Pin;
  GPIO_InitStruct.Mode = GPIO_MODE_AF_OD;
  GPIO_InitStruct.Pull = GPIO_NOPULL;
  GPIO_InitStruct.Speed = GPIO_SPEED_FREQ_VERY_HIGH;
  GPIO_InitStruct.Alternate = GPIO_AF4_I2C1;
  HAL_GPIO_Init(GPIOB, &GPIO_InitStruct);

  /* EXTI interrupt init*/
  HAL_NVIC_SetPriority(EXTI9_5_IRQn, 0, 0);
  HAL_NVIC_EnableIRQ(EXTI9_5_IRQn);

  HAL_NVIC_SetPriority(EXTI15_10_IRQn, 0, 0);
  HAL_NVIC_EnableIRQ(EXTI15_10_IRQn);

}

void Error_Handler(void)
{
  __disable_irq();
  while (1)
  {
  }
}
